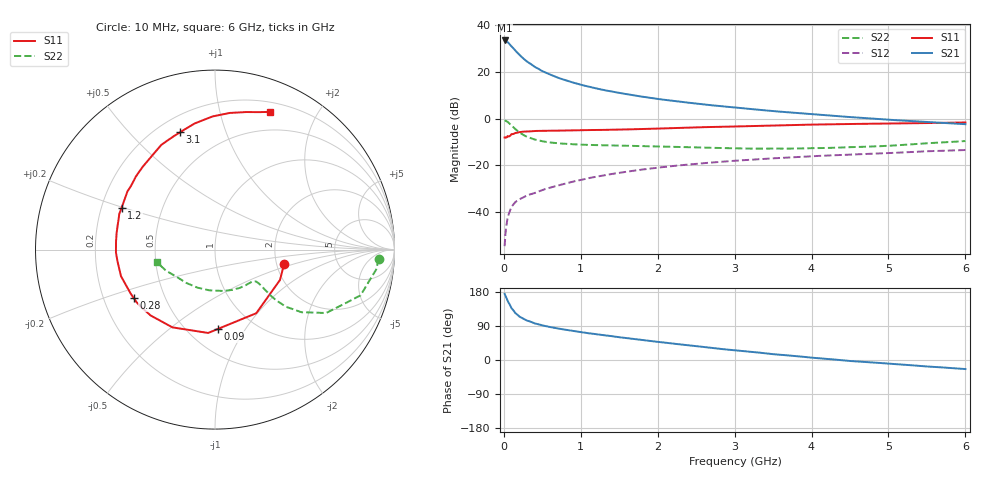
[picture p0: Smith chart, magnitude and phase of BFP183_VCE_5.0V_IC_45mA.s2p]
! Infineon Technologies  Discrete & RF Semiconductors
! BFP183
! VCE = 5.0 V,  IC =  45 mA
! Common Emitter S-Parameters:  Jan 2016
# GHz  S  MA  R  50
!  f  S11  S21  S12  S22
! GHz  MAG  ANG  MAG  ANG  MAG  ANG  MAG  ANG
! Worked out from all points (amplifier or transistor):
!   210 points, 10 MHz to 6 GHz, reference 50 ohm
!   highest |S21| = 33.3 dB at 10 MHz (marker M1)
!   |S21| within 3 dB of that: start of sweep to 114.3 MHz
!   unconditionally stable (mu >= 1): 503.3 MHz to 5.862 GHz
!   at 185 MHz: K = 0.57, MSG = 31.3 dB, |S12| = -34.8 dB
!   at 1.52 GHz: K = 1.22, MAG = 14.1 dB, |S12| = -23.0 dB
!   at 6 GHz: K = 0.97, MSG = 5.5 dB, |S12| = -13.4 dB
!   S11 on the Smith chart (normalised r, x): 10 MHz: 2.19, -0.42; 90 MHz: 0.69, -0.76; 280 MHz: 0.33, -0.25; 1.2 GHz: 0.29, +0.20; 3.1 GHz: 0.29, +0.71; 6 GHz: 0.30, +1.43
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0.01  0.393 -11.9  46.22 174.6  0.0019 79.8  0.914 -3.2
0.02  0.3997 -25.0  45.99 169.8  0.0033 78.0  0.9047 -7.1
0.05  0.4225 -57.0  42.8 155.2  0.0078 75.0  0.8498 -17.5
0.09  0.4427 -88.0  36.05 140.9  0.012 61.4  0.7373 -26.9
0.1  0.466 -94.7  34.8 136.5  0.0131 59.4  0.7129 -29.7
0.15  0.494 -118.7  28.06 123.7  0.0166 53.8  0.595 -35.9
0.2  0.5132 -134.4  22.97 115.0  0.0189 51.5  0.5093 -38.8
0.24  0.5223 -142.7  19.95 110.1  0.0203 51.8  0.4623 -39.5
0.28  0.5272 -149.4  17.56 106.1  0.022 52.5  0.4254 -39.6
0.3  0.5299 -152.5  16.47 104.1  0.0229 52.9  0.4087 -39.6
0.4  0.5443 -164.2  12.71 96.7  0.0258 54.2  0.3571 -38.8
0.5  0.5467 -172.1  10.25 91.3  0.0298 55.3  0.3272 -38.0
0.7  0.5531 176.2  7.417 83.2  0.0372 57.9  0.297 -37.7
0.8  0.5554 171.5  6.556 79.8  0.0408 59.1  0.2891 -37.9
1.02  0.5633 162.4  5.151 73.0  0.0499 59.6  0.2767 -39.7
1.2  0.5698 156.0  4.387 68.2  0.0574 59.0  0.2715 -41.8
1.52  0.5857 145.8  3.477 59.6  0.0704 57.6  0.264 -46.8
2.02  0.6116 131.6  2.59 47.5  0.0903 53.7  0.2542 -57.0
3.1  0.6826 106.5  1.655 23.7  0.1289 43.7  0.2299 -85.5
4.1  0.746 89.5  1.205 4.6  0.1599 34.1  0.2342 -118.1
5.1  0.7863 77.1  0.922 -11.0  0.1865 26.0  0.2682 -147.3
6  0.825 68.4  0.758 -23.9  0.2131 17.3  0.3314 -167.7
